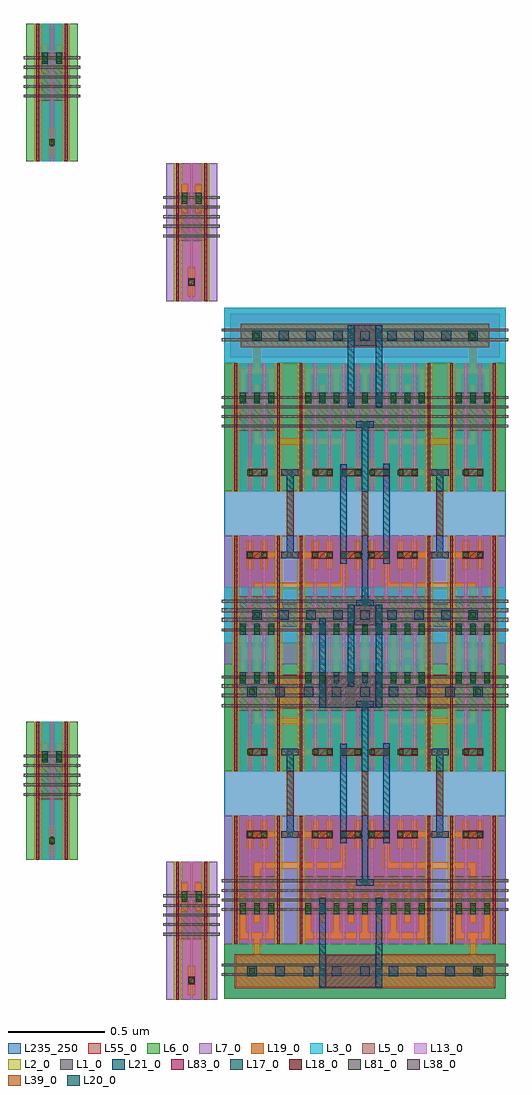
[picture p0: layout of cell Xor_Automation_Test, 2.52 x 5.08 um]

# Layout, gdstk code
from math import pi, radians
import gdstk
lib = gdstk.Library(unit=1e-6, precision=1e-09)
def R(c, l, rs):  # rectangles x0, y0, x1, y1
    for r in rs: c.add(gdstk.rectangle(r[:2], r[2:], *l))
def A(c, l, x, y, w, h, nx, ny, dx, dy):  # array of equal rectangles
    R(c, l, [(x+i*dx, y+j*dy, x+i*dx+w, y+j*dy+h) for i in range(nx) for j in range(ny)])
L1_0 = (1, 0)
L2_0 = (2, 0)
L3_0 = (3, 0)
L5_0 = (5, 0)
L6_0 = (6, 0)
L7_0 = (7, 0)
L13_0 = (13, 0)
L17_0 = (17, 0)
L18_0 = (18, 0)
L19_0 = (19, 0)
L20_0 = (20, 0)
L21_0 = (21, 0)
L38_0 = (38, 0)
L39_0 = (39, 0)
L55_0 = (55, 0)
L81_0 = (81, 0)
L83_0 = (83, 0)
L235_250 = (235, 250)

nfet_pcell_9073 = lib.new_cell('nfet_pcell_9073')
A(nfet_pcell_9073, L1_0, -0.14, 0, 0.294, 0.014, 1, 5, 0, 0.05)
R(nfet_pcell_9073, L2_0, [(-0.086,-0.333,-0.048,0.385), (0.062,-0.333,0.1,0.385)])
R(nfet_pcell_9073, L5_0, [(-0.067,-0.018,0,0.232), (0,-0.018,0.014,0.232), (0.014,-0.018,0.081,0.232)])
R(nfet_pcell_9073, L7_0, [(-0.126,-0.333,0.14,0.385)])
A(nfet_pcell_9073, L13_0, -0.074, -0.333, 0.014, 0.718, 3, 1, 0.074, 0)
R(nfet_pcell_9073, L13_0, [(-0.074,-0.333,-0.06,0.385), (0.074,-0.333,0.088,0.385)])
R(nfet_pcell_9073, L17_0, [(-0.045,0.175,-0.015,0.232), (0.029,0.175,0.059,0.232)])
R(nfet_pcell_9073, L18_0, [(-0.01,-0.254,0.024,-0.214)])
R(nfet_pcell_9073, L19_0, [(-0.01,-0.308,0.024,-0.16), (-0.01,-0.308,0.024,-0.16), (-0.047,0.124,-0.013,0.276), (-0.047,0.126,-0.013,0.274), (0.027,0.126,0.061,0.274), (0.027,0.13,0.061,0.27)])
R(nfet_pcell_9073, L55_0, [(-0.067,-0.333,0.081,0.385)])
R(nfet_pcell_9073, L81_0, [(-0.008,-0.249,0.022,-0.219), (-0.045,0.185,-0.015,0.215), (0.029,0.185,0.059,0.215)])
R(nfet_pcell_9073, L83_0, [(-0.074,-0.333,-0.06,0.385), (0.074,-0.333,0.088,0.385)])

pfet_pcell_9f77 = lib.new_cell('pfet_pcell_9f77')
A(pfet_pcell_9f77, L1_0, -0.14, 0, 0.294, 0.014, 1, 5, 0, 0.05)
R(pfet_pcell_9f77, L2_0, [(-0.086,-0.333,-0.048,0.385), (0.062,-0.333,0.1,0.385)])
R(pfet_pcell_9f77, L3_0, [(-0.067,-0.333,0.081,0.385)])
R(pfet_pcell_9f77, L5_0, [(-0.067,-0.018,0,0.232), (0,-0.018,0.014,0.232), (0.014,-0.018,0.081,0.232)])
R(pfet_pcell_9f77, L6_0, [(-0.126,-0.333,0.14,0.385)])
A(pfet_pcell_9f77, L13_0, -0.074, -0.333, 0.014, 0.718, 3, 1, 0.074, 0)
R(pfet_pcell_9f77, L13_0, [(-0.074,-0.333,-0.06,0.385), (0.074,-0.333,0.088,0.385)])
R(pfet_pcell_9f77, L17_0, [(-0.045,0.175,-0.015,0.232), (0.029,0.175,0.059,0.232)])
R(pfet_pcell_9f77, L18_0, [(0,-0.254,0.014,-0.214)])
R(pfet_pcell_9f77, L19_0, [(-0.01,-0.308,0.024,-0.16), (-0.01,-0.308,0.024,-0.16), (-0.047,0.124,-0.013,0.276), (-0.047,0.126,-0.013,0.274), (0.027,0.126,0.061,0.274), (0.027,0.13,0.061,0.27)])
R(pfet_pcell_9f77, L55_0, [(-0.067,-0.333,0.081,0.385)])
R(pfet_pcell_9f77, L81_0, [(-0.008,-0.249,0.022,-0.219), (-0.045,0.185,-0.015,0.215), (0.029,0.185,0.059,0.215)])
R(pfet_pcell_9f77, L83_0, [(-0.074,-0.333,-0.06,0.385), (0.074,-0.333,0.088,0.385)])

inverter = lib.new_cell('Inverter')
inverter.add(gdstk.Reference(nfet_pcell_9073, (0.15,-1.123)))
inverter.add(gdstk.Reference(pfet_pcell_9f77, (-0.577,-0.395)))

pfet_pcell_283c = lib.new_cell('pfet_pcell_283c')
A(pfet_pcell_283c, L1_0, -0.14, 0, 0.368, 0.014, 1, 4, 0, 0.05)
R(pfet_pcell_283c, L3_0, [(-0.067,-0.333,0.155,0.335)])
R(pfet_pcell_283c, L5_0, [(-0.005,-0.018,0,0.182), (0,-0.018,0.088,0.182), (0.088,-0.018,0.143,0.182)])
R(pfet_pcell_283c, L6_0, [(-0.126,-0.333,0.214,0.335)])
R(pfet_pcell_283c, L13_0, [(0,-0.333,0.014,0.335), (0.074,-0.333,0.088,0.335)])
R(pfet_pcell_283c, L17_0, [(0.029,0.125,0.059,0.182), (0.103,0.125,0.133,0.182)])
R(pfet_pcell_283c, L18_0, [(0,-0.254,0.044,-0.214), (0.034,-0.254,0.098,-0.214)])
R(pfet_pcell_283c, L19_0, [(-0.01,-0.308,0.024,-0.16), (-0.01,-0.308,0.024,-0.16), (0.064,-0.308,0.098,-0.16), (0.064,-0.308,0.098,-0.16), (0.101,0.074,0.135,0.226), (0.101,0.074,0.135,0.276), (0.101,0.074,0.135,0.276), (0.027,0.076,0.061,0.224), (0.101,0.076,0.135,0.224), (0.027,0.08,0.061,0.22)])
R(pfet_pcell_283c, L55_0, [(-0.067,-0.333,0.155,0.335)])
R(pfet_pcell_283c, L81_0, [(-0.008,-0.249,0.022,-0.219), (0.066,-0.249,0.096,-0.219), (0.029,0.135,0.059,0.165), (0.103,0.135,0.133,0.165)])

pfet_pcell_a6e8 = lib.new_cell('pfet_pcell_a6e8')
A(pfet_pcell_a6e8, L1_0, -0.14, 0, 0.368, 0.014, 1, 4, 0, 0.05)
R(pfet_pcell_a6e8, L2_0, [(0.136,-0.333,0.174,0.335)])
R(pfet_pcell_a6e8, L3_0, [(-0.067,-0.333,0.155,0.335)])
R(pfet_pcell_a6e8, L5_0, [(-0.005,-0.018,0,0.182), (0,-0.018,0.088,0.182), (0.088,-0.018,0.155,0.182)])
R(pfet_pcell_a6e8, L6_0, [(-0.126,-0.333,0.214,0.335)])
A(pfet_pcell_a6e8, L13_0, 0, -0.333, 0.014, 0.668, 3, 1, 0.074, 0)
R(pfet_pcell_a6e8, L13_0, [(0.148,-0.333,0.162,0.335)])
R(pfet_pcell_a6e8, L17_0, [(0.029,0.125,0.059,0.182), (0.103,0.125,0.133,0.182)])
R(pfet_pcell_a6e8, L18_0, [(0,-0.254,0.044,-0.214), (0.034,-0.254,0.098,-0.214)])
R(pfet_pcell_a6e8, L19_0, [(-0.01,-0.308,0.024,-0.16), (-0.01,-0.308,0.024,-0.16), (0.064,-0.308,0.098,-0.16), (0.064,-0.308,0.098,-0.16), (0.101,0.074,0.135,0.226), (0.101,0.074,0.135,0.276), (0.101,0.074,0.135,0.276), (0.027,0.076,0.061,0.224), (0.101,0.076,0.135,0.224), (0.027,0.08,0.061,0.22)])
R(pfet_pcell_a6e8, L55_0, [(-0.067,-0.333,0.155,0.335)])
R(pfet_pcell_a6e8, L81_0, [(-0.008,-0.249,0.022,-0.219), (0.066,-0.249,0.096,-0.219), (0.029,0.135,0.059,0.165), (0.103,0.135,0.133,0.165)])
R(pfet_pcell_a6e8, L83_0, [(0.148,-0.333,0.162,0.335)])

nfet_pcell_0545 = lib.new_cell('nfet_pcell_0545')
A(nfet_pcell_0545, L1_0, -0.14, 0, 0.368, 0.014, 1, 4, 0, 0.05)
R(nfet_pcell_0545, L2_0, [(-0.086,-0.333,-0.048,0.335), (0.136,-0.333,0.174,0.335)])
R(nfet_pcell_0545, L5_0, [(-0.067,-0.018,0,0.182), (0,-0.018,0.088,0.182), (0.088,-0.018,0.155,0.182)])
R(nfet_pcell_0545, L7_0, [(-0.126,-0.333,0.214,0.335)])
A(nfet_pcell_0545, L13_0, -0.074, -0.333, 0.014, 0.668, 4, 1, 0.074, 0)
R(nfet_pcell_0545, L13_0, [(-0.074,-0.333,-0.06,0.335), (0.148,-0.333,0.162,0.335)])
A(nfet_pcell_0545, L17_0, -0.045, 0.125, 0.03, 0.057, 3, 1, 0.074, 0)
R(nfet_pcell_0545, L18_0, [(-0.01,-0.254,0.054,-0.214), (0.034,-0.254,0.098,-0.214)])
A(nfet_pcell_0545, L19_0, -0.047, 0.076, 0.034, 0.148, 3, 1, 0.074, 0)
R(nfet_pcell_0545, L19_0, [(-0.01,-0.308,0.024,-0.16), (-0.01,-0.308,0.024,-0.16), (0.064,-0.308,0.098,-0.16), (0.064,-0.308,0.098,-0.16), (-0.047,0.074,-0.013,0.276), (-0.047,0.074,-0.013,0.276), (0.101,0.074,0.135,0.276), (0.101,0.074,0.135,0.276), (0.027,0.08,0.061,0.22), (-0.047,0.276,0.044,0.31), (-0.047,0.276,0.044,0.31), (0.044,0.276,0.135,0.31), (0.044,0.276,0.135,0.31)])
R(nfet_pcell_0545, L55_0, [(-0.067,-0.333,0.155,0.335)])
A(nfet_pcell_0545, L81_0, -0.045, 0.135, 0.03, 0.03, 3, 1, 0.074, 0)
R(nfet_pcell_0545, L81_0, [(-0.008,-0.249,0.022,-0.219), (0.066,-0.249,0.096,-0.219)])
R(nfet_pcell_0545, L83_0, [(-0.074,-0.333,-0.06,0.335), (0.148,-0.333,0.162,0.335)])

nfet_pcell_72cf = lib.new_cell('nfet_pcell_72cf')
A(nfet_pcell_72cf, L1_0, -0.14, 0, 0.368, 0.014, 1, 4, 0, 0.05)
R(nfet_pcell_72cf, L5_0, [(-0.005,-0.018,0,0.182), (0,-0.018,0.088,0.182), (0.088,-0.018,0.143,0.182)])
R(nfet_pcell_72cf, L7_0, [(-0.126,-0.333,0.214,0.335)])
R(nfet_pcell_72cf, L13_0, [(0,-0.333,0.014,0.335), (0.074,-0.333,0.088,0.335)])
R(nfet_pcell_72cf, L17_0, [(0.029,0.125,0.059,0.182), (0.103,0.125,0.133,0.182)])
R(nfet_pcell_72cf, L18_0, [(-0.01,-0.254,0.054,-0.214), (0.034,-0.254,0.098,-0.214)])
R(nfet_pcell_72cf, L19_0, [(-0.01,-0.308,0.024,-0.16), (-0.01,-0.308,0.024,-0.16), (0.064,-0.308,0.098,-0.16), (0.064,-0.308,0.098,-0.16), (0.101,0.074,0.135,0.226), (0.101,0.074,0.135,0.276), (0.101,0.074,0.135,0.276), (0.027,0.076,0.061,0.224), (0.101,0.076,0.135,0.224), (0.027,0.08,0.061,0.22)])
R(nfet_pcell_72cf, L55_0, [(-0.067,-0.333,0.155,0.335)])
R(nfet_pcell_72cf, L81_0, [(-0.008,-0.249,0.022,-0.219), (0.066,-0.249,0.096,-0.219), (0.029,0.135,0.059,0.165), (0.103,0.135,0.133,0.165)])

pfet_pcell_367b = lib.new_cell('pfet_pcell_367b')
A(pfet_pcell_367b, L1_0, -0.14, 0, 0.368, 0.014, 1, 4, 0, 0.05)
R(pfet_pcell_367b, L2_0, [(-0.086,-0.333,-0.048,0.335)])
R(pfet_pcell_367b, L3_0, [(-0.067,-0.333,0.155,0.335)])
R(pfet_pcell_367b, L5_0, [(-0.067,-0.018,0,0.182), (0,-0.018,0.088,0.182), (0.088,-0.018,0.143,0.182)])
R(pfet_pcell_367b, L6_0, [(-0.126,-0.333,0.214,0.335)])
A(pfet_pcell_367b, L13_0, -0.074, -0.333, 0.014, 0.668, 3, 1, 0.074, 0)
R(pfet_pcell_367b, L13_0, [(-0.074,-0.333,-0.06,0.335)])
A(pfet_pcell_367b, L17_0, -0.045, 0.125, 0.03, 0.057, 3, 1, 0.074, 0)
R(pfet_pcell_367b, L18_0, [(0,-0.254,0.044,-0.214), (0.034,-0.254,0.098,-0.214)])
A(pfet_pcell_367b, L19_0, -0.047, 0.076, 0.034, 0.148, 3, 1, 0.074, 0)
R(pfet_pcell_367b, L19_0, [(-0.01,-0.308,0.024,-0.16), (-0.01,-0.308,0.024,-0.16), (0.064,-0.308,0.098,-0.16), (0.064,-0.308,0.098,-0.16), (-0.047,0.074,-0.013,0.276), (-0.047,0.074,-0.013,0.276), (0.101,0.074,0.135,0.276), (0.101,0.074,0.135,0.276), (0.027,0.08,0.061,0.22), (-0.047,0.276,0.044,0.31), (-0.047,0.276,0.044,0.31), (0.044,0.276,0.135,0.31), (0.044,0.276,0.135,0.31)])
R(pfet_pcell_367b, L55_0, [(-0.067,-0.333,0.155,0.335)])
A(pfet_pcell_367b, L81_0, -0.045, 0.135, 0.03, 0.03, 3, 1, 0.074, 0)
R(pfet_pcell_367b, L81_0, [(-0.008,-0.249,0.022,-0.219), (0.066,-0.249,0.096,-0.219)])
R(pfet_pcell_367b, L83_0, [(-0.074,-0.333,-0.06,0.335)])

nfet_pcell_d64b = lib.new_cell('nfet_pcell_d64b')
A(nfet_pcell_d64b, L1_0, -0.14, 0, 0.368, 0.014, 1, 4, 0, 0.05)
R(nfet_pcell_d64b, L2_0, [(-0.086,-0.333,-0.048,0.335)])
R(nfet_pcell_d64b, L5_0, [(-0.067,-0.018,0,0.182), (0,-0.018,0.088,0.182), (0.088,-0.018,0.143,0.182)])
R(nfet_pcell_d64b, L7_0, [(-0.126,-0.333,0.214,0.335)])
A(nfet_pcell_d64b, L13_0, -0.074, -0.333, 0.014, 0.668, 3, 1, 0.074, 0)
R(nfet_pcell_d64b, L13_0, [(-0.074,-0.333,-0.06,0.335)])
A(nfet_pcell_d64b, L17_0, -0.045, 0.125, 0.03, 0.057, 3, 1, 0.074, 0)
R(nfet_pcell_d64b, L18_0, [(-0.01,-0.254,0.054,-0.214), (0.034,-0.254,0.098,-0.214)])
A(nfet_pcell_d64b, L19_0, -0.047, 0.076, 0.034, 0.148, 3, 1, 0.074, 0)
R(nfet_pcell_d64b, L19_0, [(-0.01,-0.308,0.024,-0.16), (-0.01,-0.308,0.024,-0.16), (0.064,-0.308,0.098,-0.16), (0.064,-0.308,0.098,-0.16), (-0.047,0.074,-0.013,0.276), (-0.047,0.074,-0.013,0.276), (0.101,0.074,0.135,0.276), (0.101,0.074,0.135,0.276), (0.027,0.08,0.061,0.22), (-0.047,0.276,0.044,0.31), (-0.047,0.276,0.044,0.31), (0.044,0.276,0.135,0.31), (0.044,0.276,0.135,0.31)])
R(nfet_pcell_d64b, L55_0, [(-0.067,-0.333,0.155,0.335)])
A(nfet_pcell_d64b, L81_0, -0.045, 0.135, 0.03, 0.03, 3, 1, 0.074, 0)
R(nfet_pcell_d64b, L81_0, [(-0.008,-0.249,0.022,-0.219), (0.066,-0.249,0.096,-0.219)])
R(nfet_pcell_d64b, L83_0, [(-0.074,-0.333,-0.06,0.335)])

nfet_pcell_fad5 = lib.new_cell('nfet_pcell_fad5')
A(nfet_pcell_fad5, L1_0, -0.14, 0, 0.368, 0.014, 1, 4, 0, 0.05)
R(nfet_pcell_fad5, L2_0, [(0.136,-0.333,0.174,0.335)])
R(nfet_pcell_fad5, L5_0, [(-0.005,-0.018,0,0.182), (0,-0.018,0.088,0.182), (0.088,-0.018,0.155,0.182)])
R(nfet_pcell_fad5, L7_0, [(-0.126,-0.333,0.214,0.335)])
A(nfet_pcell_fad5, L13_0, 0, -0.333, 0.014, 0.668, 3, 1, 0.074, 0)
R(nfet_pcell_fad5, L13_0, [(0.148,-0.333,0.162,0.335)])
R(nfet_pcell_fad5, L17_0, [(0.029,0.125,0.059,0.182), (0.103,0.125,0.133,0.182)])
R(nfet_pcell_fad5, L18_0, [(-0.01,-0.254,0.054,-0.214), (0.034,-0.254,0.098,-0.214)])
R(nfet_pcell_fad5, L19_0, [(-0.01,-0.308,0.024,-0.16), (-0.01,-0.308,0.024,-0.16), (0.064,-0.308,0.098,-0.16), (0.064,-0.308,0.098,-0.16), (0.101,0.074,0.135,0.226), (0.101,0.074,0.135,0.276), (0.101,0.074,0.135,0.276), (0.027,0.076,0.061,0.224), (0.101,0.076,0.135,0.224), (0.027,0.08,0.061,0.22)])
R(nfet_pcell_fad5, L55_0, [(-0.067,-0.333,0.155,0.335)])
R(nfet_pcell_fad5, L81_0, [(-0.008,-0.249,0.022,-0.219), (0.066,-0.249,0.096,-0.219), (0.029,0.135,0.059,0.165), (0.103,0.135,0.133,0.165)])
R(nfet_pcell_fad5, L83_0, [(0.148,-0.333,0.162,0.335)])

pfet_pcell_480f = lib.new_cell('pfet_pcell_480f')
A(pfet_pcell_480f, L1_0, -0.14, 0, 0.368, 0.014, 1, 4, 0, 0.05)
R(pfet_pcell_480f, L2_0, [(-0.086,-0.333,-0.048,0.335), (0.136,-0.333,0.174,0.335)])
R(pfet_pcell_480f, L3_0, [(-0.067,-0.333,0.155,0.335)])
R(pfet_pcell_480f, L5_0, [(-0.067,-0.018,0,0.182), (0,-0.018,0.088,0.182), (0.088,-0.018,0.155,0.182)])
R(pfet_pcell_480f, L6_0, [(-0.126,-0.333,0.214,0.335)])
A(pfet_pcell_480f, L13_0, -0.074, -0.333, 0.014, 0.668, 4, 1, 0.074, 0)
R(pfet_pcell_480f, L13_0, [(-0.074,-0.333,-0.06,0.335), (0.148,-0.333,0.162,0.335)])
A(pfet_pcell_480f, L17_0, -0.045, 0.125, 0.03, 0.057, 3, 1, 0.074, 0)
R(pfet_pcell_480f, L18_0, [(0,-0.254,0.044,-0.214), (0.034,-0.254,0.098,-0.214)])
A(pfet_pcell_480f, L19_0, -0.047, 0.076, 0.034, 0.148, 3, 1, 0.074, 0)
R(pfet_pcell_480f, L19_0, [(-0.01,-0.308,0.024,-0.16), (-0.01,-0.308,0.024,-0.16), (0.064,-0.308,0.098,-0.16), (0.064,-0.308,0.098,-0.16), (-0.047,0.074,-0.013,0.276), (-0.047,0.074,-0.013,0.276), (0.101,0.074,0.135,0.276), (0.101,0.074,0.135,0.276), (0.027,0.08,0.061,0.22), (-0.047,0.276,0.044,0.31), (-0.047,0.276,0.044,0.31), (0.044,0.276,0.135,0.31), (0.044,0.276,0.135,0.31)])
R(pfet_pcell_480f, L55_0, [(-0.067,-0.333,0.155,0.335)])
A(pfet_pcell_480f, L81_0, -0.045, 0.135, 0.03, 0.03, 3, 1, 0.074, 0)
R(pfet_pcell_480f, L81_0, [(-0.008,-0.249,0.022,-0.219), (0.066,-0.249,0.096,-0.219)])
R(pfet_pcell_480f, L83_0, [(-0.074,-0.333,-0.06,0.335), (0.148,-0.333,0.162,0.335)])

via12_stdvia_4391 = lib.new_cell('VIA12_stdvia_4391')
R(via12_stdvia_4391, L19_0, [(-0.045,-0.017,0.045,0.017)])
R(via12_stdvia_4391, L20_0, [(-0.015,-0.015,0.015,0.015)])
R(via12_stdvia_4391, L21_0, [(-0.045,-0.017,0.045,0.017)])

xor = lib.new_cell('Xor')
R(xor, L1_0, [(-2.815,2.518,-1.323,2.532), (-2.815,2.568,-1.323,2.582), (-2.815,4.368,-1.323,4.382), (-2.815,4.418,-1.323,4.432)])
A(xor, L17_0, -2.683, 2.517, 0.05, 0.05, 4, 1, 0.147, 0)
A(xor, L17_0, -1.946, 2.517, 0.05, 0.05, 4, 1, 0.147, 0)
A(xor, L17_0, -2.517, 4.372, 0.05, 0.05, 7, 1, 0.141, 0)
R(xor, L17_0, [(-2.094,2.517,-2.044,2.567), (-2.657,4.372,-2.607,4.422), (-1.531,4.372,-1.481,4.422)])
R(xor, L19_0, [(-2.648,2.625,-2.614,2.71), (-1.524,2.625,-1.49,2.71), (-2.2,2.71,-1.756,2.744), (-2.648,2.94,-2.614,3.076), (-2.16,2.94,-2.126,3.022), (-1.864,2.94,-1.83,3.022), (-1.524,2.94,-1.49,3.076), (-2.126,2.988,-1.864,3.022), (-2.648,3.076,-2.197,3.11), (-2.197,3.076,-2.163,3.18), (-1.975,3.076,-1.941,3.18), (-1.941,3.076,-1.49,3.11), (-2.685,3.237,-2.237,3.271), (-2.197,3.237,-2.089,3.271), (-2.049,3.237,-1.941,3.271), (-1.901,3.237,-1.453,3.271), (-2.197,3.663,-2.089,3.704), (-2.049,3.663,-1.941,3.704), (-2.685,3.667,-2.237,3.701), (-1.901,3.667,-1.453,3.701), (-2.197,3.758,-2.163,3.862), (-1.975,3.758,-1.941,3.862), (-2.648,3.828,-2.197,3.862), (-1.941,3.828,-1.49,3.862), (-2.648,3.862,-2.614,3.998), (-1.524,3.862,-1.49,3.998), (-2.308,3.916,-2.274,3.998), (-2.308,3.916,-2.274,3.998), (-2.274,3.916,-1.864,3.95), (-1.864,3.916,-1.83,3.998), (-2.2,4.194,-1.756,4.228), (-2.648,4.228,-2.614,4.343), (-1.524,4.228,-1.49,4.343)])
R(xor, L21_0, [(-2.308,2.459,-2.274,2.924), (-2.012,2.459,-1.978,2.924), (-2.086,2.988,-2.052,3.95), (-2.197,3.209,-2.163,3.727), (-1.975,3.209,-1.941,3.729), (-2.477,3.237,-2.441,3.701), (-1.697,3.237,-1.661,3.701), (-2.16,4.023,-2.126,4.451), (-2.012,4.023,-1.978,4.451)])
R(xor, L38_0, [(-2.274,2.459,-2.012,2.625), (-2.126,4.343,-2.012,4.451)])
R(xor, L39_0, [(-2.477,3.353,-2.441,3.585), (-2.086,3.353,-2.052,3.585), (-1.697,3.353,-1.661,3.585)])
R(xor, L81_0, [(-2.673,2.527,-2.643,2.557), (-1.495,2.527,-1.465,2.557), (-2.647,4.382,-2.617,4.412), (-1.523,4.382,-1.493,4.412)])
R(xor, L235_250, [(-2.801,2.399,-1.337,4.541)])
xor.add(gdstk.FlexPath([(-2.657,4.397),(-1.481,4.397)], 0.288, ends="extended", simple_path=True, layer=3, datatype=0))  # L3_0
xor.add(gdstk.FlexPath([(-2.657,4.397),(-1.481,4.397)], 0.108, ends="extended", simple_path=True, layer=19, datatype=0))  # L19_0
xor.add(gdstk.FlexPath([(-2.658,2.542),(-1.48,2.542)], 0.166, ends="extended", simple_path=True, layer=19, datatype=0))  # L19_0
xor.add(gdstk.FlexPath([(-2.658,2.542),(-1.48,2.542)], 0.178, ends="extended", simple_path=True, layer=5, datatype=0))  # L5_0
xor.add(gdstk.FlexPath([(-2.657,4.397),(-1.481,4.397)], 0.12, ends="extended", simple_path=True, layer=5, datatype=0))  # L5_0
xor.add(gdstk.FlexPath([(-2.657,4.397),(-1.481,4.397)], 0.228, ends="extended", simple_path=True, layer=7, datatype=0))  # L7_0
xor.add(gdstk.FlexPath([(-2.658,2.542),(-1.48,2.542)], 0.286, ends="extended", simple_path=True, layer=6, datatype=0))  # L6_0
xor.add(gdstk.Reference(pfet_pcell_283c, (-2.187,3.918)))
xor.add(gdstk.Reference(pfet_pcell_283c, (-2.039,3.918)))
xor.add(gdstk.Reference(pfet_pcell_a6e8, (-1.891,3.918)))
xor.add(gdstk.Reference(nfet_pcell_0545, (-2.587,3.02), rotation=pi))
xor.add(gdstk.Reference(nfet_pcell_0545, (-1.463,3.02), rotation=pi))
xor.add(gdstk.Reference(nfet_pcell_72cf, (-2.039,3.02), x_reflection=True))
xor.add(gdstk.Reference(nfet_pcell_72cf, (-2.187,3.02), x_reflection=True))
xor.add(gdstk.Reference(pfet_pcell_367b, (-2.335,3.918)))
xor.add(gdstk.Reference(nfet_pcell_d64b, (-2.335,3.02), x_reflection=True))
xor.add(gdstk.Reference(nfet_pcell_fad5, (-1.891,3.02), x_reflection=True))
xor.add(gdstk.Reference(pfet_pcell_480f, (-1.551,3.918)))
xor.add(gdstk.Reference(pfet_pcell_480f, (-2.675,3.918)))
xor.add(gdstk.Reference(via12_stdvia_4391, (-1.995,4.068), rotation=3*pi/2))
xor.add(gdstk.Reference(via12_stdvia_4391, (-2.069,3.933), rotation=pi))
xor.add(gdstk.Reference(via12_stdvia_4391, (-1.995,2.87), rotation=3*pi/2))
xor.add(gdstk.Reference(via12_stdvia_4391, (-2.18,3.682), rotation=pi/2))
xor.add(gdstk.Reference(via12_stdvia_4391, (-2.18,3.254), rotation=pi/2))
xor.add(gdstk.Reference(via12_stdvia_4391, (-2.291,2.541), rotation=3*pi/2))
xor.add(gdstk.Reference(via12_stdvia_4391, (-1.958,3.254), rotation=pi/2))
xor.add(gdstk.Reference(via12_stdvia_4391, (-2.459,3.254), rotation=pi))
xor.add(gdstk.Reference(via12_stdvia_4391, (-1.995,4.397), rotation=3*pi/2))
xor.add(gdstk.Reference(via12_stdvia_4391, (-2.143,4.397), rotation=3*pi/2))
xor.add(gdstk.Reference(via12_stdvia_4391, (-1.995,2.541), rotation=3*pi/2))
xor.add(gdstk.Reference(via12_stdvia_4391, (-1.958,3.684), rotation=pi/2))
xor.add(gdstk.Reference(via12_stdvia_4391, (-1.679,3.684), x_reflection=True))
xor.add(gdstk.Reference(via12_stdvia_4391, (-2.459,3.684), rotation=pi))
xor.add(gdstk.Reference(via12_stdvia_4391, (-2.291,2.87), rotation=3*pi/2))
xor.add(gdstk.Reference(via12_stdvia_4391, (-2.069,3.005), rotation=pi))
xor.add(gdstk.Reference(via12_stdvia_4391, (-1.679,3.254), x_reflection=True))
xor.add(gdstk.Reference(via12_stdvia_4391, (-2.143,4.068), rotation=3*pi/2))
xor.add(gdstk.Label('VDD', (-2.052,4.465), layer=38, texttype=0))
xor.add(gdstk.Label('VSS', (-2.143,2.599), layer=38, texttype=0))
xor.add(gdstk.Label('A', (-2.633,3.482), layer=39, texttype=0))
xor.add(gdstk.Label('OUT', (-2.063,3.486), layer=39, texttype=0))
xor.add(gdstk.Label('B', (-1.503,3.483), layer=39, texttype=0))

xor_automation_test = lib.new_cell('Xor_Automation_Test')
xor_automation_test.add(gdstk.Reference(inverter, (0.727,-3.637)))
xor_automation_test.add(gdstk.Reference(inverter, (0.727,0)))
xor_automation_test.add(gdstk.Reference(xor, (3.856,-7.488)))
xor_automation_test.add(gdstk.Reference(xor, (3.856,-6.032)))

lib.write_gds('Xor_Automation_Test.gds')
